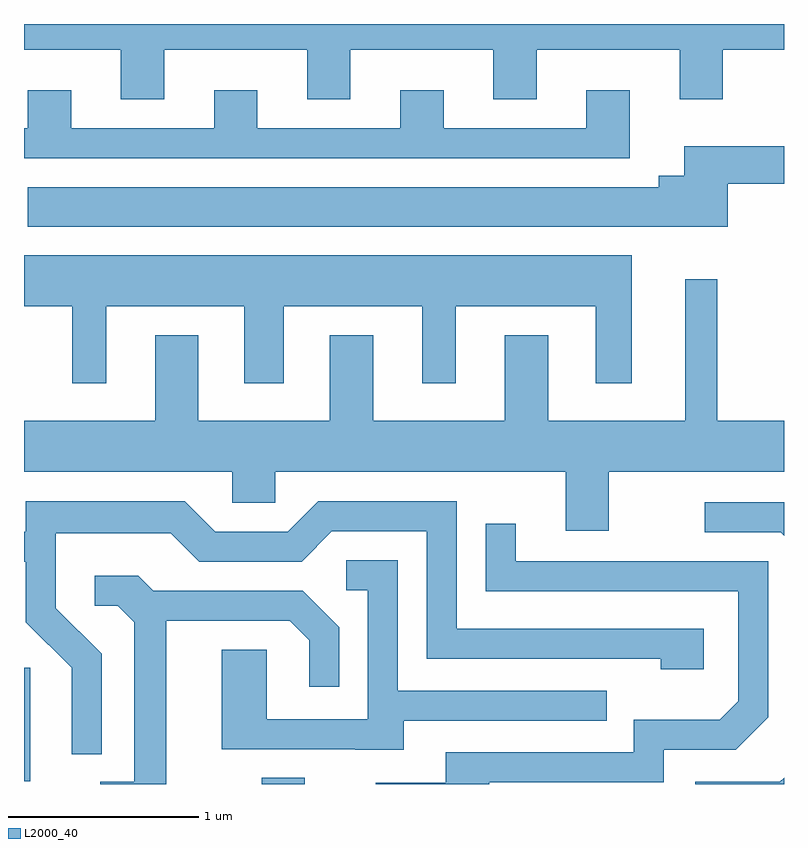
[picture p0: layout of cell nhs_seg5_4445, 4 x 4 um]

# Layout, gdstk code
import gdstk
lib = gdstk.Library(unit=1e-6, precision=1e-09)
def R(c, l, rs):  # rectangles x0, y0, x1, y1
    for r in rs: c.add(gdstk.rectangle(r[:2], r[2:], *l))
def P(c, l, *ps):  # polygons
    for p in ps: c.add(gdstk.Polygon(p, *l))
L2000_40 = (2000, 40)

nhs_seg5_4445 = lib.new_cell('nhs_seg5_4445')
R(nhs_seg5_4445, L2000_40, [(318.861,1424.072,319.089,1424.104), (317.611,1424.086,317.644,1424.684)])
P(nhs_seg5_4445, L2000_40, [(317.611,1427.936),(318.121,1427.936),(318.121,1427.676),(318.349,1427.676),(318.349,1427.936),(319.101,1427.936),(319.101,1427.676),(319.329,1427.676),(319.329,1427.936),(320.081,1427.936),(320.081,1427.676),(320.309,1427.676),(320.309,1427.936),(321.061,1427.936),(321.061,1427.676),(321.289,1427.676),(321.289,1427.936),(321.611,1427.936),(321.611,1428.072),(317.611,1428.072)],
  [(320.799,1427.724),(320.571,1427.724),(320.571,1427.524),(319.819,1427.524),(319.819,1427.724),(319.591,1427.724),(319.591,1427.524),(318.839,1427.524),(318.839,1427.724),(318.611,1427.724),(318.611,1427.524),(317.859,1427.524),(317.859,1427.724),(317.631,1427.724),(317.631,1427.524),(317.611,1427.524),(317.611,1427.366),(320.799,1427.366)],
  [(321.314,1427.231),(321.611,1427.231),(321.611,1427.429),(321.086,1427.429),(321.086,1427.274),(320.951,1427.274),(320.951,1427.214),(317.631,1427.214),(317.631,1427.006),(321.314,1427.006)],
  [(318.044,1426.586),(318.771,1426.586),(318.771,1426.181),(318.979,1426.181),(318.979,1426.586),(319.706,1426.586),(319.706,1426.181),(319.884,1426.181),(319.884,1426.586),(320.621,1426.586),(320.621,1426.181),(320.809,1426.181),(320.809,1426.854),(317.611,1426.854),(317.611,1426.586),(317.866,1426.586),(317.866,1426.181),(318.044,1426.181)],
  [(320.689,1425.716),(321.611,1425.716),(321.611,1425.984),(321.259,1425.984),(321.259,1426.728),(321.091,1426.728),(321.091,1425.984),(320.369,1425.984),(320.369,1426.434),(320.141,1426.434),(320.141,1425.984),(319.449,1425.984),(319.449,1426.434),(319.221,1426.434),(319.221,1425.984),(318.529,1425.984),(318.529,1426.434),(318.301,1426.434),(318.301,1425.984),(317.611,1425.984),(317.611,1425.716),(318.706,1425.716),(318.706,1425.551),(318.934,1425.551),(318.934,1425.716),(320.461,1425.716),(320.461,1425.406),(320.689,1425.406)],
  [(318.019,1424.757),(317.779,1424.997),(317.779,1425.391),(318.384,1425.391),(318.534,1425.241),(319.072,1425.241),(319.232,1425.401),(319.731,1425.401),(319.731,1424.731),(320.961,1424.731),(320.961,1424.676),(321.189,1424.676),(321.189,1424.889),(319.889,1424.889),(319.889,1425.559),(319.159,1425.559),(318.999,1425.399),(318.617,1425.399),(318.457,1425.559),(317.621,1425.559),(317.621,1425.399),(317.611,1425.399),(317.611,1425.241),(317.621,1425.241),(317.621,1424.924),(317.861,1424.684),(317.861,1424.228),(318.019,1424.228)],
  [(321.611,1425.554),(321.193,1425.554),(321.193,1425.396),(321.594,1425.396),(321.611,1425.379)],
  [(320.059,1424.081),(320.979,1424.081),(320.979,1424.251),(321.357,1424.251),(321.529,1424.424),(321.529,1425.244),(320.199,1425.244),(320.199,1425.443),(320.041,1425.443),(320.041,1425.086),(321.371,1425.086),(321.371,1424.507),(321.274,1424.409),(320.821,1424.409),(320.821,1424.239),(319.831,1424.239),(319.831,1424.079),(319.463,1424.079),(319.463,1424.072),(320.059,1424.072)],
  [(319.609,1424.406),(320.678,1424.406),(320.678,1424.564),(319.579,1424.564),(319.579,1425.249),(319.308,1425.249),(319.308,1425.091),(319.421,1425.091),(319.421,1424.414),(318.889,1424.414),(318.889,1424.779),(318.651,1424.779),(318.651,1424.256),(319.355,1424.256),(319.355,1424.251),(319.609,1424.251)],
  [(318.359,1424.931),(319.009,1424.931),(319.111,1424.829),(319.111,1424.583),(319.269,1424.583),(319.269,1424.897),(319.077,1425.089),(318.292,1425.089),(318.212,1425.169),(317.983,1425.169),(317.983,1425.011),(318.104,1425.011),(318.191,1424.924),(318.191,1424.084),(318.013,1424.084),(318.013,1424.072),(318.359,1424.072)],
  [(321.611,1424.106),(321.589,1424.084),(321.143,1424.084),(321.143,1424.072),(321.611,1424.072)])

lib.write_gds('nhs_seg5_4445.gds')
